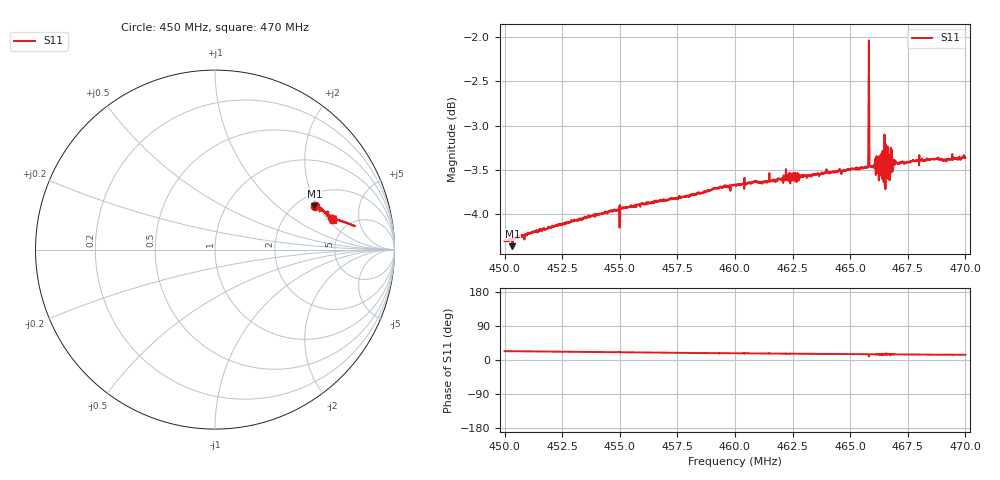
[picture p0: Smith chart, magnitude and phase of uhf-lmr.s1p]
! Calibrated averaged scanner-service zoom
# Hz S RI R 50
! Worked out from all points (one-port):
!   2001 points, 450 MHz to 470 MHz, reference 50 ohm
!   lowest |S11| = -4.4 dB at 450.34 MHz (marker M1), VSWR 4.06, Z = 123 + j94.1 ohm
!   |S11| at or under -10 dB: nowhere
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4.5e8  0.5588 0.2416
4.5034e8  0.554 0.2425
4.525e8  0.5774 0.2324
4.55e8  0.5981 0.2224
4.575e8  0.6095 0.2099
4.5831e8  0.6149 0.2042
4.6e8  0.6239 0.1999
4.625e8  0.6335 0.1926
4.65e8  0.6435 0.1786
4.6568e8  0.6462 0.1769
4.6569e8  0.6462 0.1768
4.6572e8  0.6463 0.1772
4.6573e8  0.6467 0.1769
4.6589e8  0.6474 0.175
4.659e8  0.6479 0.176
4.6593e8  0.6478 0.1753
4.6594e8  0.6478 0.1751
4.6629e8  0.6504 0.1669
4.6638e8  0.6334 0.187
4.6643e8  0.6482 0.1827
4.665e8  0.631 0.1753
4.6659e8  0.6325 0.1961
4.6676e8  0.6646 0.1772
4.6686e8  0.6543 0.1729
4.675e8  0.6529 0.1701
4.689e8  0.6575 0.162
4.6912e8  0.6565 0.1648
4.7e8  0.6589 0.1627
